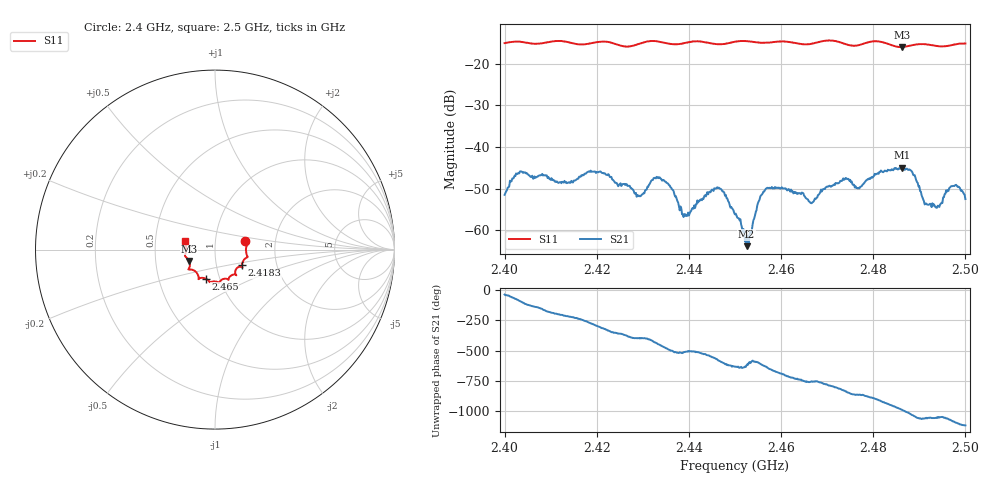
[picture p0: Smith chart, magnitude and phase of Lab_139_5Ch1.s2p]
# Hz S RI R 50
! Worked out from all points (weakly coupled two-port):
!   601 points, 2.4 GHz to 2.5 GHz, reference 50 ohm
!   highest |S21| = -44.99 dB at 2.4862 GHz (marker M1); lowest = -63.8 dB at 2.4525 GHz (marker M2)
!   lowest |S11| = -16.1 dB at 2.4862 GHz (marker M3), VSWR 1.37, Z = 37.1 - j4.82 ohm
!   |S11| at or under -10 dB: start of sweep to end of sweep
!   S12 and S22 are empty: the file has one direction only
!   S11 on the Smith chart (normalised r, x): 2.4 GHz: 1.40, +0.13; 2.4183 GHz: 1.33, -0.24; 2.465 GHz: 0.86, -0.29; 2.5 GHz: 0.71, +0.07
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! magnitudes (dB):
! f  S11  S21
! 2.4 GHz  -15.1  -51.5
! 2.4033 GHz  -14.8  -45.8
! 2.4167 GHz  -15.4  -46.8
! 2.4183 GHz  -15.2  -45.9
! 2.4292 GHz  -15.3  -51.7
! 2.4333 GHz  -14.7  -47.5
! 2.439 GHz  -15.1  -56.1
! 2.446 GHz  -15.4  -49.8
! 2.45 GHz  -14.8  -56.1
! 2.4525 GHz  -14.6  -63.8
! 2.4567 GHz  -15.0  -50.1
! 2.465 GHz  -15.4  -51.7
! 2.4667 GHz  -15.3  -53.5
! 2.4737 GHz  -15.2  -47.9
! 2.4768 GHz  -15.6  -49.8
! 2.4833 GHz  -15.3  -45.6
! 2.4862 GHz  -16.1  -45.0
! 2.4885 GHz  -15.6  -46.1
! 2.4917 GHz  -15.4  -53.8
! 2.4942 GHz  -15.9  -54.1
! 2.4975 GHz  -15.5  -49.4
! 2.5 GHz  -15.2  -52.5
